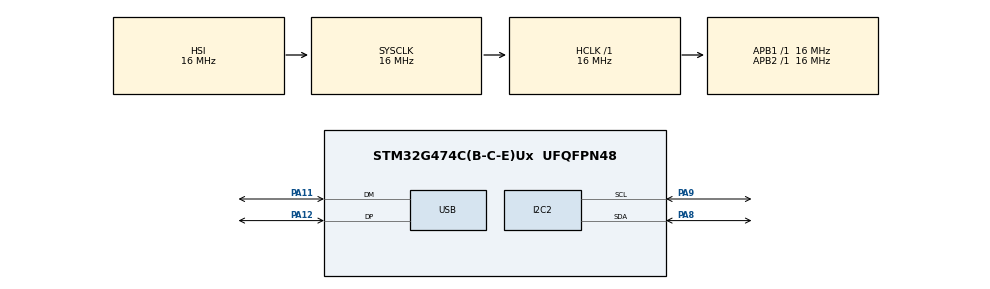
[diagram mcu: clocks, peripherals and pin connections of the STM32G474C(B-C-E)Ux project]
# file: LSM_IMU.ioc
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I2C2.Timing=0x00503D58
Mcu.Family=STM32G4
Mcu.Name=STM32G474C(B-C-E)Ux
Mcu.Package=UFQFPN48
NVIC.I2C2_EV_IRQn=true\:0\:0\:false\:false\:true\:true\:true\:true
NVIC.PriorityGroup=NVIC_PRIORITYGROUP_4
NVIC.USB_LP_IRQn=true\:0\:0\:false\:false\:true\:false\:true\:true
PA11.Mode=Device
PA11.Signal=USB_DM
PA12.Mode=Device
PA12.Signal=USB_DP
PA8.Mode=I2C
PA8.Signal=I2C2_SDA
PA9.Mode=I2C
PA9.Signal=I2C2_SCL
ProjectManager.HeapSize=0x200
ProjectManager.StackSize=0x400
ProjectManager.TargetToolchain=STM32CubeIDE
RCC.AHBFreq_Value=16000000
RCC.APB1Freq_Value=16000000
RCC.APB1TimFreq_Value=16000000
RCC.APB2Freq_Value=16000000
RCC.APB2TimFreq_Value=16000000
RCC.CortexFreq_Value=16000000
RCC.EXTERNAL_CLOCK_VALUE=12288000
RCC.HCLKFreq_Value=16000000
RCC.HSE_VALUE=8000000
RCC.HSI48_VALUE=48000000
RCC.HSI_VALUE=16000000
RCC.LSE_VALUE=32768
RCC.PLLN=12
RCC.PLLQ=RCC_PLLQ_DIV4
RCC.SYSCLKFreq_VALUE=16000000
RCC.USBFreq_Value=48000000
RCC.VCOOutputFreq_Value=192000000
USB_DEVICE.CLASS_NAME_FS=CDC
USB_DEVICE.VirtualMode=Cdc
USB_DEVICE.VirtualModeFS=Cdc_FS
VP_SYS_VS_DBSignals.Mode=DisableDeadBatterySignals
VP_USB_DEVICE_VS_USB_DEVICE_CDC_FS.Mode=CDC_FS
board=custom

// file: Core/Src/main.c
/* USER CODE BEGIN Header */
/**
  ******************************************************************************
  * @file           : main.c
  * @brief          : I2C2 bus diagnostic — continuously prints SDA/SCL levels
  ******************************************************************************
  */
/* USER CODE END Header */
#include "main.h"
#include "usb_device.h"

/* USER CODE BEGIN Includes */
#include "usbd_cdc_if.h"
#include <stdio.h>
#include <string.h>
/* USER CODE END Includes */

I2C_HandleTypeDef hi2c2;

/* USER CODE BEGIN PV */
static char tx_buf[256];
/* USER CODE END PV */

void SystemClock_Config(void);
static void MX_GPIO_Init(void);
static void MX_I2C2_Init(void);
/* USER CODE BEGIN PFP */
static void USB_Print(const char *msg);
/* USER CODE END PFP */

/* USER CODE BEGIN 0 */

static void USB_Print(const char *msg)
{
  uint8_t retries = 5;
  while (retries--)
  {
    if (CDC_Transmit_FS((uint8_t *)msg, (uint16_t)strlen(msg)) == USBD_OK)
      break;
    HAL_Delay(1);
  }
}

/* USER CODE END 0 */

int main(void)
{

  /* MCU Configuration--------------------------------------------------------*/

  /* Reset of all peripherals, Initializes the Flash interface and the Systick. */
  HAL_Init();

  /* Configure the system clock */
  SystemClock_Config();

  /* Initialize all configured peripherals */
  MX_GPIO_Init();
  MX_USB_Device_Init();
  /* USER CODE BEGIN 2 */

  HAL_Delay(2000);  /* let USB enumerate */
  MX_I2C2_Init();
  HAL_Delay(2000);

  USB_Print("\r\n======= I2C2 BUS DIAGNOSTIC =======\r\n\r\n");

  uint32_t loop = 0;

  /* USER CODE END 2 */

  /* Infinite loop */
  while (1)
  {

    /* USER CODE BEGIN 3 */
		/* ── 1. Raw pin levels ────────────────────────────────────────────
		 *  Healthy idle bus: both = 1 (pull-ups hold lines HIGH)
		 *  Both 0: IMU not powered or lines disconnected
		 *  SDA=0 only: bus hung (slave holding SDA low)
		 *  SCL=0 only: SCL wiring fault
		 * ─────────────────────────────────────────────────────────────────── */
		uint8_t sda = (GPIOA->IDR >> 8) & 1; /* PA8 = I2C2_SDA */
		uint8_t scl = (GPIOA->IDR >> 9) & 1; /* PA9 = I2C2_SCL */

		/* ── 2. I2C peripheral state ──────────────────────────────────────── */
		uint32_t isr = hi2c2.Instance->ISR;
		uint8_t busy = (isr >> 15) & 1;

		snprintf(tx_buf, sizeof(tx_buf),
				"[%lu] SDA=%d  SCL=%d  |  ISR=0x%08lX  BUSY=%d", loop, sda, scl, isr, busy);
		USB_Print(tx_buf);

		/* ── 3. Every 5th iteration, run a full I2C scan ──────────────────── */
		if (loop % 1 == 0) {
			USB_Print("  |  Scan: ");
			uint8_t found = 0;

			uint16_t addr = 0x6A;
			if (HAL_I2C_IsDeviceReady(&hi2c2, (uint16_t) (addr << 1), 5, 100) == HAL_OK) {
				snprintf(tx_buf, sizeof(tx_buf), "0x%02X ", addr);
				USB_Print(tx_buf);
				found++;
			} else {
				USB_Print("nothing here \r\n");
			}
			addr = 0x6B;
			if (HAL_I2C_IsDeviceReady(&hi2c2, (uint16_t) (addr << 1), 5, 100)
					== HAL_OK) {
				snprintf(tx_buf, sizeof(tx_buf), "0x%02X ", addr);
				USB_Print(tx_buf);
				found++;
			} else {
				USB_Print("nothing here \r\n");
			}

			if (found == 0)
				USB_Print("none");

			/* If I2C is stuck BUSY, reset the peripheral */
			if (busy) {
				USB_Print("  [resetting I2C]");
				__HAL_RCC_I2C2_FORCE_RESET();
				HAL_Delay(5);
				__HAL_RCC_I2C2_RELEASE_RESET();
				HAL_Delay(5);
				MX_I2C2_Init();
			}
		}

		USB_Print("\r\n");
		loop++;
		HAL_Delay(1000);
  }
  /* USER CODE END 3 */
}

void SystemClock_Config(void)
{
  RCC_OscInitTypeDef RCC_OscInitStruct = {0};
  RCC_ClkInitTypeDef RCC_ClkInitStruct = {0};

  /** Configure the main internal regulator output voltage
  */
  HAL_PWREx_ControlVoltageScaling(PWR_REGULATOR_VOLTAGE_SCALE1);

  /** Initializes the RCC Oscillators according to the specified parameters
  * in the RCC_OscInitTypeDef structure.
  */
  RCC_OscInitStruct.OscillatorType = RCC_OSCILLATORTYPE_HSI;
  RCC_OscInitStruct.HSIState = RCC_HSI_ON;
  RCC_OscInitStruct.HSICalibrationValue = RCC_HSICALIBRATION_DEFAULT;
  RCC_OscInitStruct.PLL.PLLState = RCC_PLL_ON;
  RCC_OscInitStruct.PLL.PLLSource = RCC_PLLSOURCE_HSI;
  RCC_OscInitStruct.PLL.PLLM = RCC_PLLM_DIV1;
  RCC_OscInitStruct.PLL.PLLN = 12;
  RCC_OscInitStruct.PLL.PLLP = RCC_PLLP_DIV2;
  RCC_OscInitStruct.PLL.PLLQ = RCC_PLLQ_DIV4;
  RCC_OscInitStruct.PLL.PLLR = RCC_PLLR_DIV2;
  if (HAL_RCC_OscConfig(&RCC_OscInitStruct) != HAL_OK)
  {
    Error_Handler();
  }

  /** Initializes the CPU, AHB and APB buses clocks
  */
  RCC_ClkInitStruct.ClockType = RCC_CLOCKTYPE_HCLK|RCC_CLOCKTYPE_SYSCLK
                              |RCC_CLOCKTYPE_PCLK1|RCC_CLOCKTYPE_PCLK2;
  RCC_ClkInitStruct.SYSCLKSource = RCC_SYSCLKSOURCE_HSI;
  RCC_ClkInitStruct.AHBCLKDivider = RCC_SYSCLK_DIV1;
  RCC_ClkInitStruct.APB1CLKDivider = RCC_HCLK_DIV1;
  RCC_ClkInitStruct.APB2CLKDivider = RCC_HCLK_DIV1;

  if (HAL_RCC_ClockConfig(&RCC_ClkInitStruct, FLASH_LATENCY_0) != HAL_OK)
  {
    Error_Handler();
  }
}

static void MX_I2C2_Init(void)
{

  hi2c2.Instance = I2C2;
  hi2c2.Init.Timing = 0x00503D58;
  hi2c2.Init.OwnAddress1 = 0;
  hi2c2.Init.AddressingMode = I2C_ADDRESSINGMODE_7BIT;
  hi2c2.Init.DualAddressMode = I2C_DUALADDRESS_DISABLE;
  hi2c2.Init.OwnAddress2 = 0;
  hi2c2.Init.OwnAddress2Masks = I2C_OA2_NOMASK;
  hi2c2.Init.GeneralCallMode = I2C_GENERALCALL_DISABLE;
  hi2c2.Init.NoStretchMode = I2C_NOSTRETCH_DISABLE;
  if (HAL_I2C_Init(&hi2c2) != HAL_OK)
  {
    Error_Handler();
  }

  /** Configure Analogue filter
  */
  if (HAL_I2CEx_ConfigAnalogFilter(&hi2c2, I2C_ANALOGFILTER_ENABLE) != HAL_OK)
  {
    Error_Handler();
  }

  /** Configure Digital filter
  */
  if (HAL_I2CEx_ConfigDigitalFilter(&hi2c2, 0) != HAL_OK)
  {
    Error_Handler();
  }

}

static void MX_GPIO_Init(void)
{

  /* GPIO Ports Clock Enable */
  __HAL_RCC_GPIOA_CLK_ENABLE();

}

void Error_Handler(void)
{
  __disable_irq();
  while (1)
  {
  }
}
